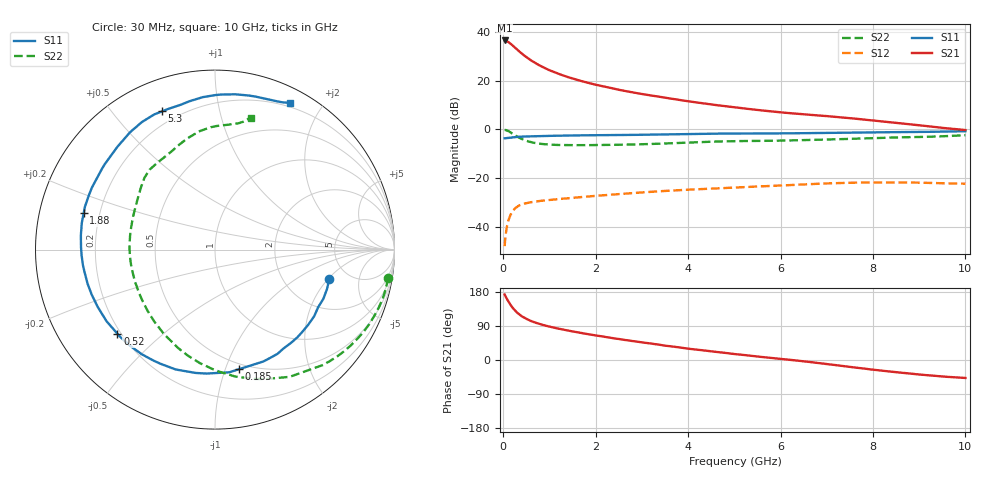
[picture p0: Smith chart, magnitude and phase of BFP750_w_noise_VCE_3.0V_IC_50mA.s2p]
! Infineon Technologies  Discrete & RF Semiconductors
! BFP750
! VCE =  3.0 V,  IC =  50 mA
! Common Emitter S-Parameters:  Jan 2016
# GHz  S  MA  R  50
!  f  S11  S21  S12  S22
! GHz  MAG  ANG  MAG  ANG  MAG  ANG  MAG  ANG
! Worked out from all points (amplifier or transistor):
!   229 points, 30 MHz to 10 GHz, reference 50 ohm
!   highest |S21| = 36.5 dB at 30 MHz (marker M1)
!   |S21| within 3 dB of that: start of sweep to 259 MHz
!   unconditionally stable (mu >= 1): 4.072 GHz to end of sweep
!   at 280 MHz: K = 0.16, MSG = 32.6 dB, |S12| = -32.1 dB
!   at 1.78 GHz: K = 0.70, MSG = 23.5 dB, |S12| = -27.7 dB
!   at 10 GHz: K = 1.05, MAG = 9.6 dB, |S12| = -22.3 dB
!   lowest NFmin = 1.04 dB at 450 MHz
!   S11 on the Smith chart (normalised r, x): 30 MHz: 3.57, -2.07; 185 MHz: 0.45, -1.12; 520 MHz: 0.19, -0.36; 1.88 GHz: 0.14, +0.13; 5.3 GHz: 0.14, +0.68; 10 GHz: 0.16, +1.62
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0.03  0.658 -14.5  67.22 172.8  0.004 83.7  0.9774 -9.3
0.07  0.6657 -33.9  65.72 163.1  0.0088 75.4  0.9614 -22.6
0.11  0.6703 -51.0  62.49 154.7  0.0134 68.0  0.9259 -35.2
0.15  0.679 -66.7  58.71 146.8  0.017 61.5  0.8812 -46.8
0.185  0.6794 -78.5  54.87 141.0  0.0196 56.2  0.8352 -55.6
0.2  0.6883 -83.4  53.41 138.2  0.0208 54.3  0.8219 -59.6
0.26  0.6956 -98.8  47.5 130.1  0.0241 47.6  0.7545 -72.8
0.34  0.7047 -115.4  40.55 121.1  0.0272 41.1  0.6812 -87.8
0.4  0.7116 -125.0  36.25 115.5  0.0288 37.5  0.6388 -97.4
0.52  0.7179 -139.2  29.66 107.4  0.0309 32.5  0.5767 -112.6
0.7  0.7273 -154.0  22.9 98.4  0.033 28.3  0.5246 -130.1
0.9  0.7349 -165.0  18.19 91.1  0.0348 25.9  0.4965 -143.9
1.2  0.7438 -177.1  13.81 82.5  0.0371 24.3  0.4796 -158.9
1.7  0.7569 168.7  9.803 71.1  0.0408 23.0  0.4753 -175.6
1.88  0.7599 164.4  8.838 67.3  0.0422 22.5  0.4761 179.6
2.6  0.7687 149.5  6.249 53.5  0.0477 20.4  0.4859 163.0
3.4  0.7858 135.2  4.63 39.9  0.0538 16.8  0.5099 148.7
5.1  0.8251 113.1  2.776 14.6  0.0648 7.9  0.576 128.1
5.3  0.8248 110.9  2.639 11.9  0.066 6.7  0.578 125.8
6.8  0.846 96.6  1.941 -7.7  0.0763 -3.3  0.6128 109.9
8.4  0.8787 77.7  1.397 -30.8  0.0816 -18.3  0.682 92.0
10  0.9183 62.9  0.972 -47.4  0.0768 -29.7  0.7608 74.9
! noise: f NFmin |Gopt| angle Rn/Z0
0.45  1.04  0.18  -167  0.47
0.9  1.06  0.23  -161  0.24
1.5  1.08  0.34  -155  0.09
1.9  1.09  0.36  -150  0.08
2.4  1.1  0.37  -143  0.09
3.5  1.33  0.38  -128  0.1
